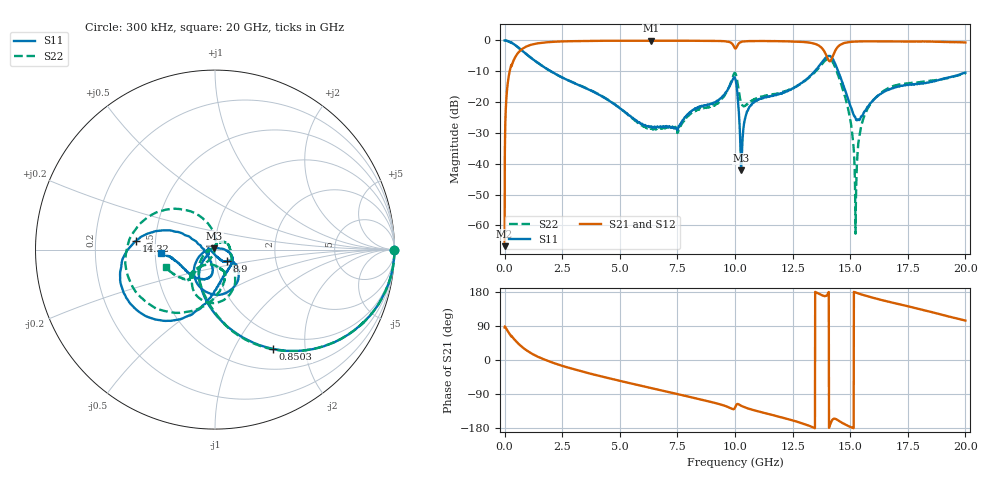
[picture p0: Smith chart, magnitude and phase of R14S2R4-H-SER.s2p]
!{R14S2R4}
!Johanson Technology Inc.
!www.johansontechnology.com
!Test Board Conditions:
!Substrate Type  RO4350B
!Substrate Thickness  20 mil
!Substrate Dk  3.66
!TL Type: GCPW
!TL Trace Width  36 mil
!TL Gap  12 mil
!Electrode orientation  Horizontal
!DUT TOPOLOGY	SERIES
!Mounting Pad LxW  26x36 mil
! Created Wed Nov 25 17:33:21 2020
! 2 Port Network Data from SP1.SP block
! freq  magS11  angS11  magS21  angS21  magS12  angS12  magS22  angS22
# khz S ma R 50
! decimated to every 10th point (10 MHz spacing) of the original 1 MHz Johanson file; values unchanged
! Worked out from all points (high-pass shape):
!   2001 points, 300 kHz to 20 GHz, reference 50 ohm
!   highest |S21| = -0.05 dB at 6.35 GHz (marker M1); lowest = -66.8 dB at 300 kHz (marker M2)
!   |S21| within 3 dB of the highest: 714.4 MHz to 13.83 GHz (13.12 GHz wide, 180 % of centre); 14.37 GHz to end of sweep
!   lowest |S11| = -42.1 dB at 10.26 GHz (marker M3), VSWR 1.02, Z = 49.6 + j0.695 ohm
!   |S11| at or under -10 dB: 2.005 GHz to 13.46 GHz (11.45 GHz wide, 148 % of centre); 14.48 GHz to end of sweep
!   |S22| runs from -62.7 to 0.0 dB; largest |S21 - S12| = 0.019
!   S11 on the Smith chart (normalised r, x): 300 kHz: open; 850.3 MHz: 0.77, -1.45; 8.9 GHz: 1.13, -0.15; 14.32 GHz: 0.39, +0.05; 20 GHz: 0.54, -0.02
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300  0.9987 -0.2  0.0004596 86.2  0.0004699 87.0  0.9991 -0.3
110300  0.986 -11.0  0.1649 78.9  0.1656 78.8  0.9848 -11.0
180300  0.9631 -17.7  0.2635 72.1  0.2648 72.0  0.9635 -17.7
850300  0.6409 -59.7  0.7642 29.9  0.7631 29.9  0.6404 -60.1
1780300  0.3561 -90.3  0.93 -0.0  0.9312 -0.0  0.3558 -89.4
3340300  0.1805 -119.5  0.9784 -30.0  0.9787 -30.0  0.182 -119.2
6350300  0.04022 -153.7  0.9939 -74.0  0.9919 -74.0  0.03696 -174.6
6670300  0.03939 -159.4  0.9916 -78.4  0.9918 -78.5  0.03653 -174.8
8900300  0.09252 -45.1  0.9857 -109.8  0.9846 -109.8  0.08268 2.9
1.00003e7  0.2451 -97.5  0.7451 -125.7  0.7461 -125.6  0.2976 -96.1
1.02603e7  0.007856 117.1  0.9447 -120.5  0.9461 -120.5  0.09967 -121.5
1.08003e7  0.09812 -19.0  0.979 -132.0  0.9776 -132.1  0.1095 -74.6
1.33403e7  0.2842 -98.0  0.9061 -176.5  0.911 -176.5  0.2745 -91.9
1.38803e7  0.4981 -127.8  0.6593 168.5  0.666 168.0  0.4596 -133.8
1.41103e7  0.5606 -157.7  0.4591 -174.0  0.4597 -174.6  0.5033 -172.9
1.43203e7  0.442 173.6  0.649 -154.8  0.6488 -155.1  0.3888 148.0
1.49503e7  0.1012 160.7  0.9405 -175.1  0.9397 -175.1  0.06477 89.4
1.52403e7  0.05338 -163.7  0.9602 178.1  0.961 178.0  0.001664 -95.5
1.54303e7  0.05339 -132.0  0.9652 174.2  0.9674 174.2  0.03296 -112.9
1.56403e7  0.07172 -108.6  0.9683 170.2  0.9701 170.3  0.06332 -118.7
1.66703e7  0.1594 -102.0  0.9675 153.7  0.9639 153.7  0.1708 -135.2
2e7  0.3004 -176.4  0.9272 104.0  0.9246 104.2  0.2901 -160.3
